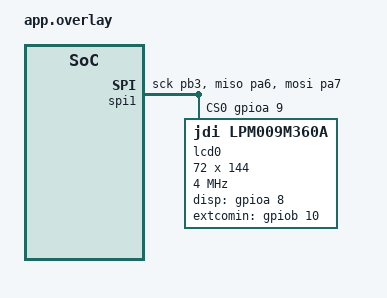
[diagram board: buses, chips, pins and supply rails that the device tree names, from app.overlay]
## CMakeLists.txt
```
cmake_minimum_required(VERSION 3.20.0)

set(BOARD nucleo_g474re)
# set(BOARD_ROOT ${CMAKE_CURRENT_SOURCE_DIR})

find_package(Zephyr)
project(nucleo_g474re)

target_sources(app PRIVATE src/main.c)

# Add drivers
add_subdirectory(drivers)
```

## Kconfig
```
mainmenu "Zephyr Kernel Configuration"

rsource "drivers/Kconfig"

source "Kconfig.zephyr"
```

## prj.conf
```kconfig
CONFIG_LOG=y
CONFIG_LOG_BLOCK_IN_THREAD=y
CONFIG_HEAP_MEM_POOL_SIZE=4096
CONFIG_LOG_BUFFER_SIZE=1024
CONFIG_MAIN_STACK_SIZE=4096
CONFIG_PM_DEVICE=y
CONFIG_LPM009M360A=y
CONFIG_LVGL=y
# CONFIG_LV_COLOR_DEPTH_1=y
CONFIG_LV_Z_MEM_POOL_SIZE=4096
CONFIG_LV_USE_MONKEY=y
CONFIG_LV_CONF_MINIMAL=y
CONFIG_LV_USE_LABEL=y
CONFIG_LV_FONT_MONTSERRAT_12=y
CONFIG_LV_FONT_MONTSERRAT_14=y
CONFIG_LV_FONT_MONTSERRAT_16=y
CONFIG_LV_USE_FONT_COMPRESSED=y
CONFIG_LV_USE_CANVAS=y
CONFIG_LV_USE_THEME_DEFAULT=y
```

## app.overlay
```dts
&spi1 {
	pinctrl-0 = <&spi1_sck_pb3 &spi1_miso_pa6 &spi1_mosi_pa7>;
	pinctrl-names = "default";
	cs-gpios = <&gpioa 9 (GPIO_ACTIVE_HIGH | GPIO_PULL_DOWN)>;
	status = "okay";
	lcd0: lcd@0 {
		compatible = "jdi,lpm009m360a";
		reg = <0>;
		status = "okay";
		spi-max-frequency = <4000000>;
		disp_gpios = <&gpioa 8 GPIO_ACTIVE_HIGH>;
		extcomin_gpios = <&gpiob 10 GPIO_ACTIVE_HIGH>;
		width = <72>;
		height = <144>;
        color_mode = [04];
	};
};

/{
	chosen {
		zephyr,display = &lcd0;
	};
};
```

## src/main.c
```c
#include <zephyr/kernel.h>
#include <zephyr/logging/log.h>
#include <zephyr/drivers/gpio.h>
#include <zephyr/drivers/display.h>
#include <zephyr/device.h>
#include <zephyr/devicetree.h>
#include <zephyr/pm/device.h>
#include <lvgl.h>

LOG_MODULE_REGISTER(main, LOG_LEVEL_INF);

#define LED0_NODE DT_ALIAS(led0)

static const struct gpio_dt_spec led = GPIO_DT_SPEC_GET(LED0_NODE, gpios);
// static struct device *gpio_c;
static const struct device *display_dev;

#define LVGL_STACK_SIZE 4096
#define LVGL_PRIORITY 5
K_THREAD_STACK_DEFINE(lvgl_stack_area, LVGL_STACK_SIZE);
struct k_thread lvgl_thread_data;
k_tid_t lvgl_tid;

uint8_t buf[100];

lv_obj_t *canvas;
lv_obj_t *label;
lv_timer_t *info_update_timer;
void info_update(lv_timer_t *timer)
{
	static uint8_t cnt = 0;
	static uint8_t y = 0;
	static uint8_t x = 0;
	uint8_t buf[20];
	sprintf(buf, "#ffffff %02d#", cnt);
	lv_label_set_text(label, buf);
	lv_obj_align(label, LV_ALIGN_TOP_LEFT, x++, y);
	if (x == 72)
	{
		x = 0;
		y++;
	}
	if (y == 144)
		y = 0;
	cnt++;
	if (cnt == 100)
		cnt = 0;
}
void lvgl_entry_point(void *, void *, void *)
{

/*Create a buffer for the canvas*/
#define CANVAS_WIDTH 72
#define CANVAS_HEIGHT 144
	static lv_color_t cbuf[LV_CANVAS_BUF_SIZE_TRUE_COLOR(CANVAS_WIDTH, CANVAS_HEIGHT)];
	canvas = lv_canvas_create(lv_scr_act());
	lv_canvas_set_buffer(canvas, cbuf, CANVAS_WIDTH, CANVAS_HEIGHT, LV_IMG_CF_TRUE_COLOR);
	lv_obj_align(canvas, LV_ALIGN_CENTER, 0, 0);
	lv_canvas_fill_bg(canvas, lv_color_black(), LV_OPA_COVER);
	for (uint8_t y = 108; y < 117; y++)
	{
		for (uint8_t x = 0; x < 36; x++)
		{
			lv_canvas_set_px_color(canvas, x, y, lv_color_hex(0x00ffffff));
		}
	}
	for (uint8_t y = 108; y < 117; y++)
	{
		for (uint8_t x = 36; x < 72; x++)
		{
			lv_canvas_set_px_color(canvas, x, y, lv_color_hex(0x0000ffff));
		}
	}
	for (uint8_t y = 117; y < 126; y++)
	{
		for (uint8_t x = 0; x < 36; x++)
		{
			lv_canvas_set_px_color(canvas, x, y, lv_color_hex(0x00ff00ff));
		}
	}
	for (uint8_t y = 117; y < 126; y++)
	{
		for (uint8_t x = 36; x < 72; x++)
		{
			lv_canvas_set_px_color(canvas, x, y, lv_color_hex(0x00ffff00));
		}
	}
	for (uint8_t y = 126; y < 135; y++)
	{
		for (uint8_t x = 0; x < 36; x++)
		{
			lv_canvas_set_px_color(canvas, x, y, lv_color_hex(0x00ff0000));
		}
	}
	for (uint8_t y = 126; y < 135; y++)
	{
		for (uint8_t x = 36; x < 72; x++)
		{
			lv_canvas_set_px_color(canvas, x, y, lv_color_hex(0x0000ff00));
		}
	}
	for (uint8_t y = 135; y < 144; y++)
	{
		for (uint8_t x = 0; x < 36; x++)
		{
			lv_canvas_set_px_color(canvas, x, y, lv_color_hex(0x000000ff));
		}
	}
	for (uint8_t y = 135; y < 144; y++)
	{
		for (uint8_t x = 36; x < 72; x++)
		{
			lv_canvas_set_px_color(canvas, x, y, lv_color_hex(0x00000000));
		}
	}

	label = lv_label_create(lv_scr_act());
	lv_label_set_recolor(label, true);
	lv_label_set_text(label, "#ffffff 00#");

	lv_obj_align(label, LV_ALIGN_TOP_LEFT, 1, 0);
	lv_task_handler();

	info_update_timer = lv_timer_create(info_update, 500, NULL);
	lv_timer_set_repeat_count(info_update_timer, -1);
	lv_timer_ready(info_update_timer);
	lv_task_handler();
	for (;;)
	{
		lv_task_handler();
		lv_timer_handler();
		k_msleep(5);
	}
}

int main()
{
	LOG_INF("LPM009M360A");
	int ret;
	if (!gpio_is_ready_dt(&led))
	{
		return 0;
	}
	ret = gpio_pin_configure_dt(&led, GPIO_OUTPUT_ACTIVE);
	if (ret < 0)
	{
		return 0;
	}

	display_dev = DEVICE_DT_GET(DT_NODELABEL(lcd0));
	if (!device_is_ready(display_dev))
	{
		LOG_ERR("Device %s not found. Aborting sample.",
				display_dev->name);
	}
	display_blanking_off(display_dev);

	// struct display_buffer_descriptor buf_desc;
	// (void)memset(buf, 0xFFu, 5);

	// buf_desc.buf_size = 90;
	// buf_desc.pitch = 8;
	// buf_desc.width = 72;
	// buf_desc.height = 10;
	// display_write(display_dev, 0, 0, &buf_desc, buf);
	lvgl_tid = k_thread_create(&lvgl_thread_data, lvgl_stack_area,
							   K_THREAD_STACK_SIZEOF(lvgl_stack_area),
							   lvgl_entry_point,
							   NULL, NULL, NULL,
							   LVGL_PRIORITY, 0, K_NO_WAIT);
	for (;;)
	{
		ret = gpio_pin_toggle_dt(&led);
		if (ret < 0)
		{
			return 0;
		}
		k_msleep(500);
	}
	return 0;
}
```
